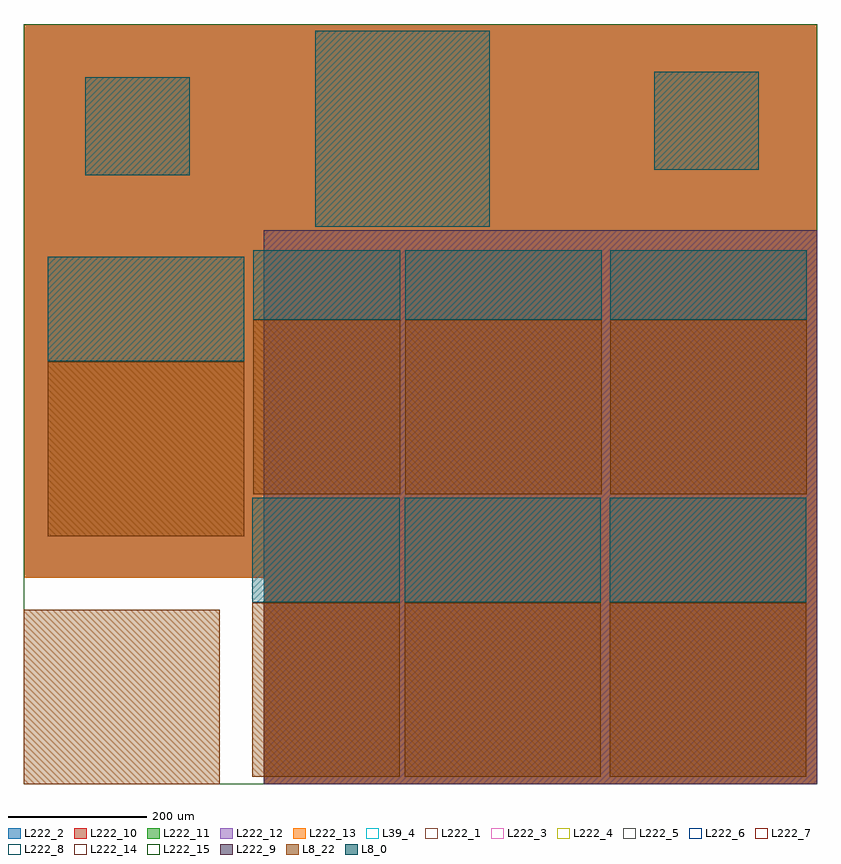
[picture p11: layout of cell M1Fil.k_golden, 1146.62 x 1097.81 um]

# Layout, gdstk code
import gdstk
lib = gdstk.Library(unit=1e-6, precision=1e-09)
def R(c, l, rs):  # rectangles x0, y0, x1, y1
    for r in rs: c.add(gdstk.rectangle(r[:2], r[2:], *l))
def A(c, l, x, y, w, h, nx, ny, dx, dy):  # array of equal rectangles
    R(c, l, [(x+i*dx, y+j*dy, x+i*dx+w, y+j*dy+h) for i in range(nx) for j in range(ny)])
L8_0 = (8, 0)
L8_22 = (8, 22)
L39_4 = (39, 4)
L222_1 = (222, 1)
L222_2 = (222, 2)
L222_3 = (222, 3)
L222_4 = (222, 4)
L222_5 = (222, 5)
L222_6 = (222, 6)
L222_7 = (222, 7)
L222_8 = (222, 8)
L222_9 = (222, 9)
L222_10 = (222, 10)
L222_11 = (222, 11)
L222_12 = (222, 12)
L222_13 = (222, 13)
L222_14 = (222, 14)
L222_15 = (222, 15)

m1fil_k_golden = lib.new_cell('M1Fil.k_golden')
A(m1fil_k_golden, L8_0, 330.522, 262.612, 35, 50, 6, 3, 35.5, 50.5)
A(m1fil_k_golden, L8_0, 550.408, 262.612, 35, 50, 8, 3, 35.5, 50.5)
A(m1fil_k_golden, L8_0, 846.823, 262.612, 35, 50, 8, 3, 35.5, 50.5)
A(m1fil_k_golden, L8_0, 35.235, 610.4, 35, 50, 8, 3, 35.5, 50.5)
A(m1fil_k_golden, L8_0, 331.452, 670.844, 35, 50, 6, 2, 35.5, 50.5)
A(m1fil_k_golden, L8_0, 551.338, 670.844, 35, 50, 8, 2, 35.5, 50.5)
A(m1fil_k_golden, L8_0, 847.753, 670.844, 35, 50, 8, 2, 35.5, 50.5)
A(m1fil_k_golden, L8_0, 421.515, 804.71, 50, 35, 5, 8, 50.5, 35.5)
A(m1fil_k_golden, L8_0, 88.995, 879.115, 50, 35, 3, 4, 50.5, 35.5)
A(m1fil_k_golden, L8_0, 910.625, 887.55, 50, 35, 3, 4, 50.5, 35.5)
A(m1fil_k_golden, L8_22, 0, 0, 35, 50, 8, 5, 35.5, 50.5)
A(m1fil_k_golden, L8_22, 330.522, 10.112, 35, 50, 6, 5, 35.5, 50.5)
A(m1fil_k_golden, L8_22, 550.408, 10.112, 35, 50, 8, 5, 35.5, 50.5)
A(m1fil_k_golden, L8_22, 846.823, 10.112, 35, 50, 8, 5, 35.5, 50.5)
A(m1fil_k_golden, L8_22, 35.235, 357.9, 35, 50, 8, 5, 35.5, 50.5)
A(m1fil_k_golden, L8_22, 331.452, 418.344, 35, 50, 6, 5, 35.5, 50.5)
A(m1fil_k_golden, L8_22, 551.338, 418.344, 35, 50, 8, 5, 35.5, 50.5)
A(m1fil_k_golden, L8_22, 847.753, 418.344, 35, 50, 8, 5, 35.5, 50.5)
R(m1fil_k_golden, L39_4, [(0,0,1146.62,1097.81)])
R(m1fil_k_golden, L222_1, [(0,0,1146.62,1097.81)])
R(m1fil_k_golden, L222_2, [(346.62,0,1146.62,800), (0,297.81,800,1097.81), (346.62,297.81,1146.62,1097.81)])
R(m1fil_k_golden, L222_3, [(0,0,1146.62,1097.81)])
R(m1fil_k_golden, L222_4, [(0,0,1146.62,1097.81)])
R(m1fil_k_golden, L222_5, [(0,0,1146.62,1097.81)])
R(m1fil_k_golden, L222_6, [(0,0,1146.62,1097.81)])
R(m1fil_k_golden, L222_7, [(0,0,1146.62,1097.81)])
R(m1fil_k_golden, L222_8, [(0,0,1146.62,1097.81)])
R(m1fil_k_golden, L222_9, [(346.62,0,1146.62,800)])
R(m1fil_k_golden, L222_10, [(346.62,0,1146.62,800), (0,297.81,800,1097.81), (346.62,297.81,1146.62,1097.81)])
R(m1fil_k_golden, L222_11, [(346.62,0,1146.62,800), (0,297.81,800,1097.81), (346.62,297.81,1146.62,1097.81)])
R(m1fil_k_golden, L222_12, [(346.62,0,1146.62,800), (0,297.81,800,1097.81), (346.62,297.81,1146.62,1097.81)])
R(m1fil_k_golden, L222_13, [(346.62,0,1146.62,800), (0,297.81,800,1097.81), (346.62,297.81,1146.62,1097.81)])
R(m1fil_k_golden, L222_14, [(0,0,1146.62,1097.81)])
R(m1fil_k_golden, L222_15, [(0,0,1146.62,1097.81)])

lib.write_gds('M1Fil.k_golden.gds')
